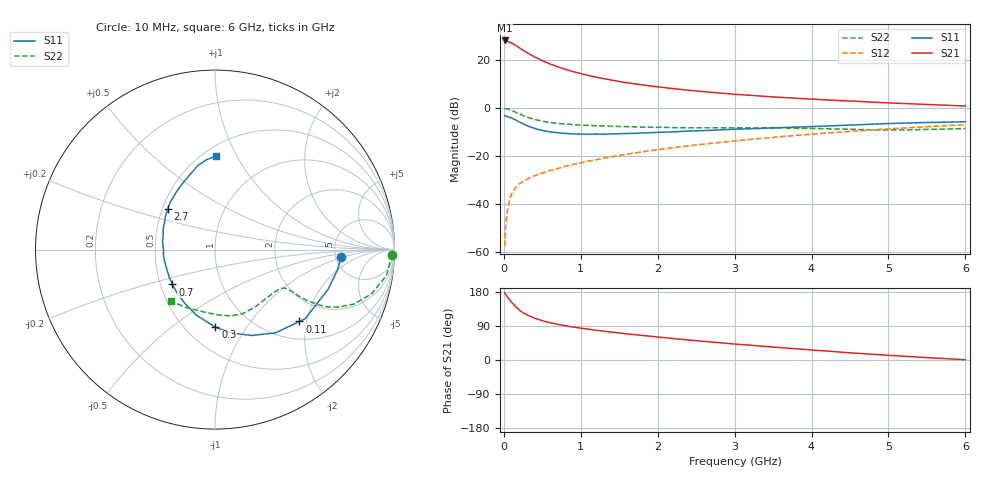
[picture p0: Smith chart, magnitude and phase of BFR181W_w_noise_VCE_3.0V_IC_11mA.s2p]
! Infineon Technologies  Discrete & RF Semiconductors
! BFR181W
! VCE =  3.0 V,  IC =  11 mA
! Common Emitter S-Parameters:  Jan 2017
# GHz  S  MA  R  50
!  f  S11  S21  S12  S22
! GHz  MAG  ANG  MAG  ANG  MAG  ANG  MAG  ANG
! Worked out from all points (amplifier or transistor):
!   77 points, 10 MHz to 6 GHz, reference 50 ohm
!   highest |S21| = 28.4 dB at 10 MHz (marker M1)
!   |S21| within 3 dB of that: start of sweep to 198.2 MHz
!   unconditionally stable (mu >= 1): 891.6 MHz to 2.834 GHz
!   at 130 MHz: K = 0.29, MSG = 30.5 dB, |S12| = -34.3 dB
!   at 2.2 GHz: K = 1.05, MAG = 10.9 dB, |S12| = -16.5 dB
!   at 6 GHz: K = 0.84, MSG = 3.9 dB, |S12| = -6.9 dB
!   lowest NFmin = 1.29 dB at 450 MHz
!   S11 on the Smith chart (normalised r, x): 10 MHz: 5.63, -0.88; 110 MHz: 1.40, -1.82; 300 MHz: 0.69, -0.73; 700 MHz: 0.58, -0.25; 2.7 GHz: 0.53, +0.28; 6 GHz: 0.58, +0.83
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0.01  0.7047 -3.2  26.24 177.7  0.0013 90.3  0.9892 -1.6
0.02  0.6924 -9.2  25.93 174.0  0.0029 100.0  0.9804 -3.2
0.05  0.6677 -19.4  25.21 165.6  0.0078 82.4  0.9665 -8.5
0.1  0.6332 -37.4  23.24 152.3  0.0159 76.8  0.9067 -15.8
0.11  0.6175 -40.4  22.71 150.3  0.017 74.8  0.8914 -16.8
0.15  0.5738 -53.9  20.9 141.4  0.0215 68.8  0.8334 -21.3
0.2  0.5197 -67.0  18.5 132.1  0.0259 64.7  0.7631 -24.8
0.25  0.4723 -79.1  16.43 124.8  0.0297 62.4  0.704 -27.0
0.3  0.4327 -89.7  14.6 119.0  0.0326 61.2  0.6534 -28.1
0.4  0.3795 -106.0  11.87 110.2  0.0388 60.9  0.5825 -29.0
0.5  0.3433 -119.5  9.883 103.7  0.0441 61.7  0.5362 -29.1
0.6  0.3209 -131.0  8.46 98.5  0.0501 62.2  0.5051 -28.7
0.7  0.3069 -140.7  7.365 94.2  0.0544 64.2  0.4827 -28.5
0.9  0.2907 -156.2  5.85 87.0  0.0667 65.3  0.4552 -28.7
1.1  0.2879 -168.5  4.865 81.3  0.0783 67.4  0.438 -29.4
1.5  0.2939 173.1  3.645 71.4  0.1028 68.6  0.4155 -32.7
2.1  0.3164 153.6  2.69 58.8  0.1429 67.9  0.3969 -41.3
2.7  0.347 139.2  2.155 47.5  0.185 65.7  0.3898 -52.3
3.1  0.368 130.8  1.917 40.6  0.2152 63.6  0.3878 -59.6
4.1  0.4201 113.4  1.526 25.0  0.2945 56.8  0.376 -78.5
5.1  0.4838 100.0  1.276 11.2  0.3778 48.2  0.3521 -104.8
6  0.5223 89.3  1.117 0.7  0.4541 39.3  0.3769 -130.1
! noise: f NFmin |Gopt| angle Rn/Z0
0.45  1.29  0.12  17  0.21
0.9  1.33  0.12  31  0.21
1.9  1.76  0.04  -171  0.2
2.4  1.95  0.05  -122  0.25
